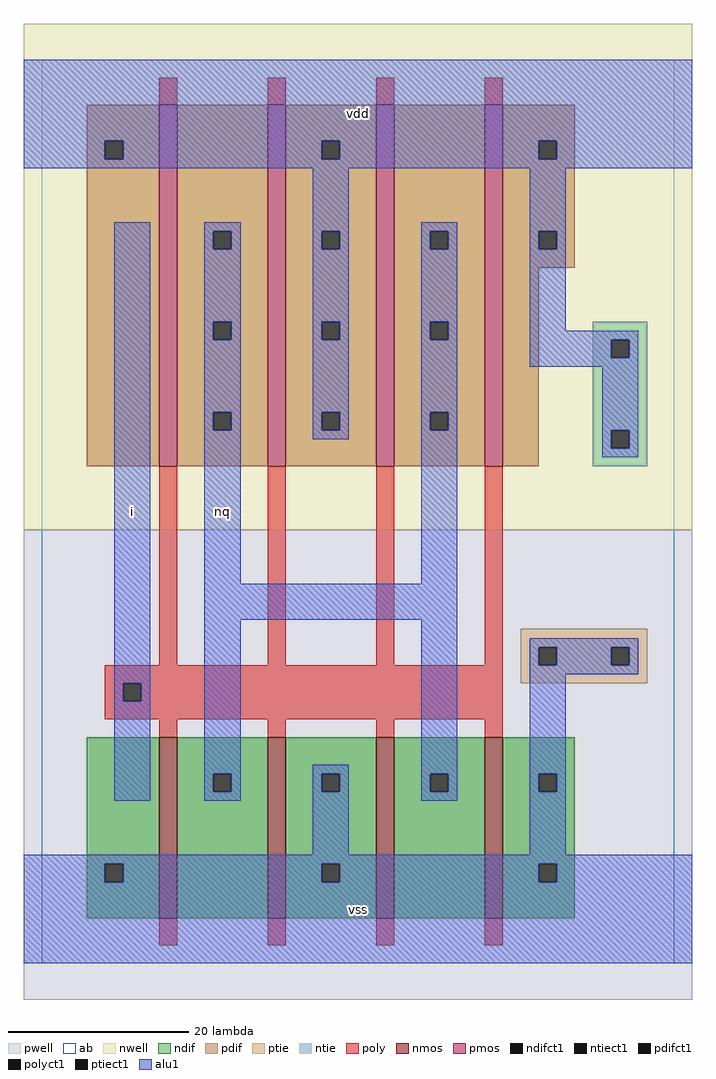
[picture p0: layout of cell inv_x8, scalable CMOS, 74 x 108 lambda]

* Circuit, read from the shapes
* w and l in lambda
.subckt inv_x8 i nq vdd vss
M1 nq i vss vss nfet w=20 l=2 m=4
M2 nq i vdd vdd pfet w=40 l=2 m=4
.ends

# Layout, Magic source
magic
tech scmos
<< ab >>
rect 0 0 70 100
<< nwell >>
rect -2 48 72 104
<< pwell >>
rect -2 -4 72 48
<< poly >>
rect 13 95 15 98
rect 25 95 27 98
rect 37 95 39 98
rect 49 95 51 98
rect 13 33 15 55
rect 25 33 27 55
rect 37 33 39 55
rect 49 33 51 55
rect 7 31 51 33
rect 7 29 9 31
rect 11 29 51 31
rect 7 27 51 29
rect 13 25 15 27
rect 25 25 27 27
rect 37 25 39 27
rect 49 25 51 27
rect 13 2 15 5
rect 25 2 27 5
rect 37 2 39 5
rect 49 2 51 5
<< ndif >>
rect 5 11 13 25
rect 5 9 7 11
rect 9 9 13 11
rect 5 5 13 9
rect 15 21 25 25
rect 15 19 19 21
rect 21 19 25 21
rect 15 5 25 19
rect 27 21 37 25
rect 27 19 31 21
rect 33 19 37 21
rect 27 11 37 19
rect 27 9 31 11
rect 33 9 37 11
rect 27 5 37 9
rect 39 21 49 25
rect 39 19 43 21
rect 45 19 49 21
rect 39 5 49 19
rect 51 21 59 25
rect 51 19 55 21
rect 57 19 59 21
rect 51 11 59 19
rect 51 9 55 11
rect 57 9 59 11
rect 51 5 59 9
<< pdif >>
rect 5 91 13 95
rect 5 89 7 91
rect 9 89 13 91
rect 5 55 13 89
rect 15 81 25 95
rect 15 79 19 81
rect 21 79 25 81
rect 15 71 25 79
rect 15 69 19 71
rect 21 69 25 71
rect 15 61 25 69
rect 15 59 19 61
rect 21 59 25 61
rect 15 55 25 59
rect 27 91 37 95
rect 27 89 31 91
rect 33 89 37 91
rect 27 81 37 89
rect 27 79 31 81
rect 33 79 37 81
rect 27 71 37 79
rect 27 69 31 71
rect 33 69 37 71
rect 27 61 37 69
rect 27 59 31 61
rect 33 59 37 61
rect 27 55 37 59
rect 39 81 49 95
rect 39 79 43 81
rect 45 79 49 81
rect 39 71 49 79
rect 39 69 43 71
rect 45 69 49 71
rect 39 61 49 69
rect 39 59 43 61
rect 45 59 49 61
rect 39 55 49 59
rect 51 91 59 95
rect 51 89 55 91
rect 57 89 59 91
rect 51 81 59 89
rect 51 79 55 81
rect 57 79 59 81
rect 51 77 59 79
rect 51 55 55 77
<< alu1 >>
rect -2 91 72 100
rect -2 89 7 91
rect 9 89 31 91
rect 33 89 55 91
rect 57 89 72 91
rect -2 88 72 89
rect 8 31 12 82
rect 8 29 9 31
rect 11 29 12 31
rect 8 18 12 29
rect 18 81 22 82
rect 18 79 19 81
rect 21 79 22 81
rect 18 71 22 79
rect 18 69 19 71
rect 21 69 22 71
rect 18 61 22 69
rect 18 59 19 61
rect 21 59 22 61
rect 18 42 22 59
rect 30 81 34 88
rect 30 79 31 81
rect 33 79 34 81
rect 30 71 34 79
rect 30 69 31 71
rect 33 69 34 71
rect 30 61 34 69
rect 30 59 31 61
rect 33 59 34 61
rect 30 58 34 59
rect 42 81 46 82
rect 42 79 43 81
rect 45 79 46 81
rect 42 71 46 79
rect 42 69 43 71
rect 45 69 46 71
rect 42 61 46 69
rect 54 81 58 88
rect 54 79 55 81
rect 57 79 58 81
rect 54 70 58 79
rect 54 69 66 70
rect 54 67 63 69
rect 65 67 66 69
rect 54 66 66 67
rect 42 59 43 61
rect 45 59 46 61
rect 42 42 46 59
rect 62 59 66 66
rect 62 57 63 59
rect 65 57 66 59
rect 62 56 66 57
rect 18 38 46 42
rect 18 21 22 38
rect 18 19 19 21
rect 21 19 22 21
rect 18 18 22 19
rect 30 21 34 22
rect 30 19 31 21
rect 33 19 34 21
rect 30 12 34 19
rect 42 21 46 38
rect 42 19 43 21
rect 45 19 46 21
rect 42 18 46 19
rect 54 35 66 36
rect 54 33 55 35
rect 57 33 63 35
rect 65 33 66 35
rect 54 32 66 33
rect 54 21 58 32
rect 54 19 55 21
rect 57 19 58 21
rect 54 12 58 19
rect -2 11 72 12
rect -2 9 7 11
rect 9 9 31 11
rect 33 9 55 11
rect 57 9 72 11
rect -2 0 72 9
<< ptie >>
rect 53 35 67 37
rect 53 33 55 35
rect 57 33 63 35
rect 65 33 67 35
rect 53 31 67 33
<< ntie >>
rect 61 69 67 71
rect 61 67 63 69
rect 65 67 67 69
rect 61 59 67 67
rect 61 57 63 59
rect 65 57 67 59
rect 61 55 67 57
<< nmos >>
rect 13 5 15 25
rect 25 5 27 25
rect 37 5 39 25
rect 49 5 51 25
<< pmos >>
rect 13 55 15 95
rect 25 55 27 95
rect 37 55 39 95
rect 49 55 51 95
<< polyct1 >>
rect 9 29 11 31
<< ndifct1 >>
rect 7 9 9 11
rect 19 19 21 21
rect 31 19 33 21
rect 31 9 33 11
rect 43 19 45 21
rect 55 19 57 21
rect 55 9 57 11
<< ntiect1 >>
rect 63 67 65 69
rect 63 57 65 59
<< ptiect1 >>
rect 55 33 57 35
rect 63 33 65 35
<< pdifct1 >>
rect 7 89 9 91
rect 19 79 21 81
rect 19 69 21 71
rect 19 59 21 61
rect 31 89 33 91
rect 31 79 33 81
rect 31 69 33 71
rect 31 59 33 61
rect 43 79 45 81
rect 43 69 45 71
rect 43 59 45 61
rect 55 89 57 91
rect 55 79 57 81
<< labels >>
rlabel alu1 10 50 10 50 6 i
rlabel alu1 20 50 20 50 6 nq
rlabel alu1 35 6 35 6 6 vss
rlabel alu1 35 94 35 94 6 vdd
<< end >>
